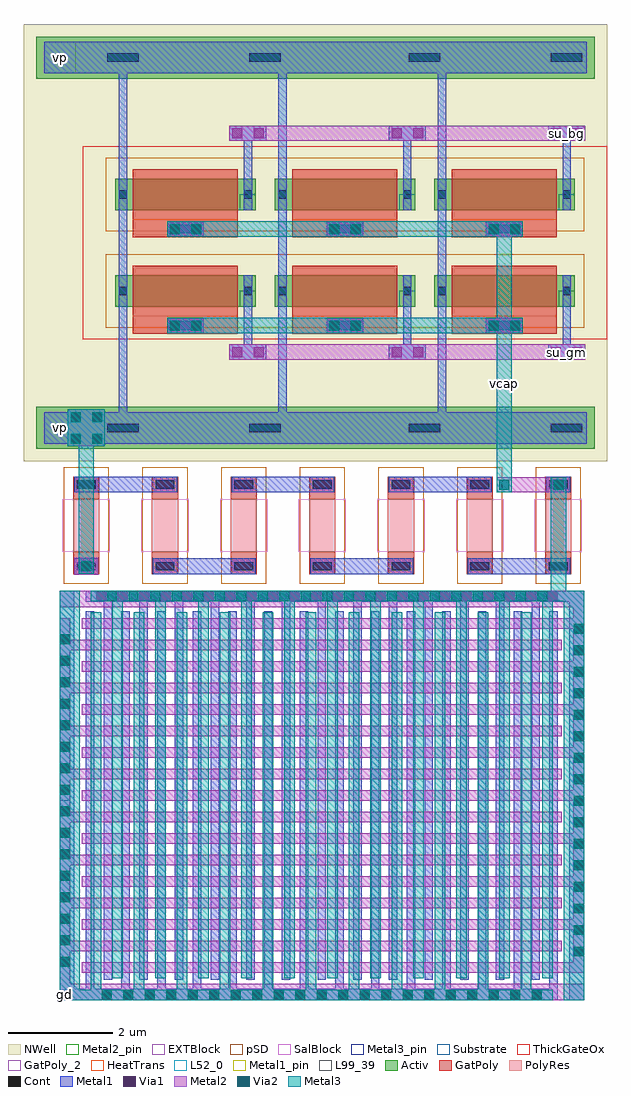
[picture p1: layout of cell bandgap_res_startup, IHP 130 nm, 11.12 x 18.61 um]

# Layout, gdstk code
import gdstk
lib = gdstk.Library(unit=1e-6, precision=1e-09)
def R(c, l, rs):  # rectangles x0, y0, x1, y1
    for r in rs: c.add(gdstk.rectangle(r[:2], r[2:], *l))
def A(c, l, x, y, w, h, nx, ny, dx, dy):  # array of equal rectangles
    R(c, l, [(x+i*dx, y+j*dy, x+i*dx+w, y+j*dy+h) for i in range(nx) for j in range(ny)])
Activ = (1, 0)
GatPoly = (5, 0)
GatPoly_2 = (5, 2)
Cont = (6, 0)
Metal1 = (8, 0)
Metal1_pin = (8, 2)
Metal2 = (10, 0)
Metal2_pin = (10, 2)
pSD = (14, 0)
Via1 = (19, 0)
SalBlock = (28, 0)
Via2 = (29, 0)
Metal3 = (30, 0)
Metal3_pin = (30, 2)
NWell = (31, 0)
Substrate = (40, 0)
ThickGateOx = (44, 0)
HeatTrans = (51, 0)
L52_0 = (52, 0)
L99_39 = (99, 39)
EXTBlock = (111, 0)
PolyRes = (128, 0)

pmoshv_6 = lib.new_cell('pmosHV$6')
R(pmoshv_6, Activ, [(0,0,0.3,0.3), (0,0,2.68,0.6), (2.38,0,2.68,0.3)])
R(pmoshv_6, GatPoly, [(0.34,-0.18,2.34,0.78)])
R(pmoshv_6, GatPoly_2, [(0.34,-0.18,2.34,0.78)])
R(pmoshv_6, Cont, [(0.07,0.22,0.23,0.38), (2.45,0.22,2.61,0.38)])
R(pmoshv_6, Metal1, [(0.07,0,0.23,0.6), (2.45,0,2.61,0.6)])
R(pmoshv_6, Metal1_pin, [(0.07,0,0.23,0.6), (2.45,0,2.61,0.6)])
R(pmoshv_6, pSD, [(-0.18,-0.4,2.86,1)])
R(pmoshv_6, NWell, [(-0.62,-0.62,3.3,1.22)])
R(pmoshv_6, Substrate, [(2.38,0,2.68,0.3)])
R(pmoshv_6, ThickGateOx, [(-0.62,-0.62,3.3,1.22)])
R(pmoshv_6, HeatTrans, [(0.34,-0.18,2.34,0.78)])
pmoshv_6.add(gdstk.Label('pmosHV', (1.34,0.3), layer=63, texttype=0))
pmoshv_6.add(gdstk.Label('pmos', (1.34,0.3), layer=51, texttype=0))

via_stack_10 = lib.new_cell('via_stack$10')
R(via_stack_10, Metal1, [(-0.145,-0.145,0.145,0.145)])
R(via_stack_10, Metal2, [(-0.145,-0.145,0.145,0.145)])
R(via_stack_10, Via1, [(-0.095,-0.095,0.095,0.095)])
R(via_stack_10, Via2, [(-0.095,-0.095,0.095,0.095)])
R(via_stack_10, Metal3, [(-0.145,-0.145,0.145,0.145)])

via_stack_3 = lib.new_cell('via_stack$3')
R(via_stack_3, Metal1, [(-0.35,-0.145,0.35,0.145)])
R(via_stack_3, Metal2, [(-0.35,-0.145,0.35,0.145)])
R(via_stack_3, Via1, [(-0.3,-0.095,-0.11,0.095), (0.11,-0.095,0.3,0.095)])
R(via_stack_3, Via2, [(-0.3,-0.095,-0.11,0.095), (0.11,-0.095,0.3,0.095)])
R(via_stack_3, Metal3, [(-0.35,-0.145,0.35,0.145)])

via_stack = lib.new_cell('via_stack')
R(via_stack, Metal1, [(-0.35,-0.145,0.35,0.145)])
R(via_stack, Metal2, [(-0.35,-0.145,0.35,0.145)])
R(via_stack, Via1, [(-0.3,-0.095,-0.11,0.095), (0.11,-0.095,0.3,0.095)])

cap_mfringe = lib.new_cell('cap_mfringe')
A(cap_mfringe, Metal1, 0.5, 0, 0.16, 7.41, 14, 1, 0.68, 0)
A(cap_mfringe, Metal1, 0.84, 0.39, 0.16, 7.41, 13, 1, 0.68, 0)
R(cap_mfringe, Metal1, [(0,0,0.28,7.8), (0,0,9.5,0.21), (9.72,0,10,7.8), (0.5,7.59,10,7.8)])
A(cap_mfringe, Metal2, 0.42, 0.52, 9.58, 0.2, 1, 9, 0, 0.82)
A(cap_mfringe, Metal2, 0, 0.93, 9.58, 0.2, 1, 8, 0, 0.82)
R(cap_mfringe, Metal2, [(0,0,10,0.31), (0,0,0.205,7.28), (9.795,0.52,10,7.8), (0,7.49,10,7.8)])
A(cap_mfringe, Via1, 0.805, 0.01, 0.19, 0.19, 21, 1, 0.41, 0)
A(cap_mfringe, Via1, 0.01, 0.63, 0.19, 0.19, 1, 16, 0, 0.41)
A(cap_mfringe, Via1, 9.8, 0.83, 0.19, 0.19, 1, 16, 0, 0.41)
A(cap_mfringe, Via1, 0.7, 7.6, 0.19, 0.19, 22, 1, 0.41, 0)
A(cap_mfringe, Via2, 0.805, 0.005, 0.19, 0.19, 21, 1, 0.41, 0)
A(cap_mfringe, Via2, 0.005, 0.63, 0.19, 0.19, 1, 16, 0, 0.41)
A(cap_mfringe, Via2, 9.805, 0.83, 0.19, 0.19, 1, 16, 0, 0.41)
A(cap_mfringe, Via2, 0.905, 7.605, 0.19, 0.19, 21, 1, 0.41, 0)
A(cap_mfringe, Metal3, 0.595, 0, 0.2, 7.39, 11, 1, 0.82, 0)
A(cap_mfringe, Metal3, 1.005, 0.41, 0.2, 7.39, 11, 1, 0.82, 0)
R(cap_mfringe, Metal3, [(0,0,0.385,7.8), (0,0,9.405,0.2), (9.615,0,10,7.8), (0.595,7.6,10,7.8)])
R(cap_mfringe, Metal3_pin, [(0,3.8,0.2,4), (4.9,7.6,5.1,7.8)])
R(cap_mfringe, L99_39, [(0,0,10,7.8)])
cap_mfringe.add(gdstk.Label('cap_mfringe C=138.060fF', (0,-0.5), layer=63, texttype=0))

via_stack_6 = lib.new_cell('via_stack$6')
R(via_stack_6, Metal2, [(-0.145,-0.145,0.145,0.145)])
R(via_stack_6, Via2, [(-0.095,-0.095,0.095,0.095)])
R(via_stack_6, Metal3, [(-0.145,-0.145,0.145,0.145)])

rppd_11 = lib.new_cell('rppd$11')
A(rppd_11, GatPoly, 0, -0.43, 0.5, 0.23, 7, 2, 1.5, 1.63)
A(rppd_11, GatPoly, 0, -0.2, 0.5, 0.2, 7, 2, 1.5, 1.2)
A(rppd_11, Cont, 0.07, -0.36, 0.36, 0.16, 7, 2, 1.5, 1.56)
A(rppd_11, Metal1, 0.02, -0.43, 0.46, 0.3, 7, 2, 1.5, 1.56)
A(rppd_11, Metal1, 1.52, -0.43, 1.96, 0.3, 3, 1, 3, 0)
A(rppd_11, Metal1, 0.02, 1.13, 1.96, 0.3, 3, 1, 3, 0)
A(rppd_11, Metal1_pin, 0.02, -0.43, 0.46, 0.3, 7, 2, 1.5, 1.56)
A(rppd_11, pSD, -0.18, -0.61, 0.86, 0.61, 7, 2, 1.5, 1.61)
A(rppd_11, pSD, -0.18, 0, 0.86, 1, 7, 1, 1.5, 0)
A(rppd_11, SalBlock, -0.2, 0, 0.9, 1, 7, 1, 1.5, 0)
A(rppd_11, L52_0, 0, 0, 0.5, 1, 7, 1, 1.5, 0)
A(rppd_11, EXTBlock, -0.18, -0.61, 0.86, 0.61, 7, 2, 1.5, 1.61)
A(rppd_11, EXTBlock, -0.2, 0, 0.9, 1, 7, 1, 1.5, 0)
A(rppd_11, PolyRes, 0, 0, 0.5, 1, 7, 1, 1.5, 0)
rppd_11.add(gdstk.Label('rppd r=653.834', (0.25,0.5), layer=63, texttype=0))
rppd_11.add(gdstk.Label('rppd r=653.834', (0.25,0.5), layer=63, texttype=0))
rppd_11.add(gdstk.Label('rppd r=653.834', (0.25,0.5), layer=63, texttype=0))
rppd_11.add(gdstk.Label('rppd r=653.834', (0.25,0.5), layer=63, texttype=0))
rppd_11.add(gdstk.Label('rppd r=653.834', (0.25,0.5), layer=63, texttype=0))
rppd_11.add(gdstk.Label('rppd r=653.834', (0.25,0.5), layer=63, texttype=0))
rppd_11.add(gdstk.Label('rppd r=653.834', (0.25,0.5), layer=63, texttype=0))
rppd_11.add(gdstk.Label('rppd', (0.25,0.5), layer=52, texttype=0))
rppd_11.add(gdstk.Label('rppd', (1.75,0.5), layer=52, texttype=0))
rppd_11.add(gdstk.Label('rppd', (3.25,0.5), layer=52, texttype=0))
rppd_11.add(gdstk.Label('rppd', (4.75,0.5), layer=52, texttype=0))
rppd_11.add(gdstk.Label('rppd', (6.25,0.5), layer=52, texttype=0))
rppd_11.add(gdstk.Label('rppd', (7.75,0.5), layer=52, texttype=0))
rppd_11.add(gdstk.Label('rppd', (9.25,0.5), layer=52, texttype=0))

via_stack_4 = lib.new_cell('via_stack$4')
R(via_stack_4, Metal1, [(-0.35,-0.35,0.35,0.35)])
R(via_stack_4, Metal2, [(-0.35,-0.35,0.35,0.35)])
R(via_stack_4, Via1, [(-0.3,-0.3,-0.11,-0.11), (0.11,-0.3,0.3,-0.11), (-0.3,0.11,-0.11,0.3), (0.11,0.11,0.3,0.3)])
R(via_stack_4, Via2, [(-0.3,-0.3,-0.11,-0.11), (0.11,-0.3,0.3,-0.11), (-0.3,0.11,-0.11,0.3), (0.11,0.11,0.3,0.3)])
R(via_stack_4, Metal3, [(-0.35,-0.35,0.35,0.35)])

bandgap_res_startup = lib.new_cell('bandgap_res_startup')
A(bandgap_res_startup, Cont, 2.78, 13.38, 0.6, 0.16, 3, 2, 3.04, 1.84)
R(bandgap_res_startup, Cont, [(1.59,11.43,2.19,11.59), (1.59,11.43,2.19,11.59), (4.3,11.43,4.9,11.59), (4.3,11.43,4.9,11.59), (7.34,11.43,7.94,11.59), (7.34,11.43,7.94,11.59), (10.05,11.43,10.65,11.59), (10.05,11.43,10.65,11.59), (8.86,13.38,9.46,13.54), (1.59,18.49,2.19,18.65), (1.59,18.49,2.19,18.65), (4.3,18.49,4.9,18.65), (4.3,18.49,4.9,18.65), (7.34,18.49,7.94,18.65), (7.34,18.49,7.94,18.65), (10.05,18.49,10.65,18.65), (10.05,18.49,10.65,18.65)])
R(bandgap_res_startup, Metal1_pin, [(0.39,11.21,0.99,11.81), (0.39,18.27,0.99,18.87)])
R(bandgap_res_startup, Metal2, [(0.96,8.71,1.42,9.03)])
R(bandgap_res_startup, Metal2_pin, [(10,12.81,10.7,13.1), (10,16.98,10.7,17.27)])
R(bandgap_res_startup, Metal3_pin, [(0.68,0.6,0.88,0.8)])
R(bandgap_res_startup, NWell, [(0,10.87,1.12,19.21), (1.12,10.87,11.12,13.2), (1.12,10.87,11.12,13.2), (1.12,16.88,11.12,19.21), (1.12,16.88,11.12,19.21)])
bandgap_res_startup.add(gdstk.FlexPath([(1.89,18.87),(1.89,11.21)], 0.16, ends="flush", simple_path=True, layer=8, datatype=0))  # Metal1
bandgap_res_startup.add(gdstk.FlexPath([(4.93,18.87),(4.93,11.21)], 0.16, ends="flush", simple_path=True, layer=8, datatype=0))  # Metal1
bandgap_res_startup.add(gdstk.FlexPath([(7.97,11.21),(7.97,18.87)], 0.16, ends="flush", simple_path=True, layer=8, datatype=0))  # Metal1
bandgap_res_startup.add(gdstk.FlexPath([(10.35,15.66),(10.35,17.27)], 0.16, ends="flush", simple_path=True, layer=8, datatype=0))  # Metal1
bandgap_res_startup.add(gdstk.FlexPath([(10.35,14.42),(10.35,12.81)], 0.16, ends="flush", simple_path=True, layer=8, datatype=0))  # Metal1
bandgap_res_startup.add(gdstk.FlexPath([(7.31,15.66),(7.31,17.27)], 0.16, ends="flush", simple_path=True, layer=8, datatype=0))  # Metal1
bandgap_res_startup.add(gdstk.FlexPath([(4.27,15.66),(4.27,17.27)], 0.16, ends="flush", simple_path=True, layer=8, datatype=0))  # Metal1
bandgap_res_startup.add(gdstk.FlexPath([(7.31,14.42),(7.31,12.81)], 0.16, ends="flush", simple_path=True, layer=8, datatype=0))  # Metal1
bandgap_res_startup.add(gdstk.FlexPath([(4.27,14.42),(4.27,12.81)], 0.16, ends="flush", simple_path=True, layer=8, datatype=0))  # Metal1
bandgap_res_startup.add(gdstk.FlexPath([(0.39,18.57),(10.73,18.57)], 0.6, ends="flush", simple_path=True, layer=8, datatype=0))  # Metal1
bandgap_res_startup.add(gdstk.FlexPath([(0.39,11.51),(10.73,11.51)], 0.6, ends="flush", simple_path=True, layer=8, datatype=0))  # Metal1
bandgap_res_startup.add(gdstk.FlexPath([(0.24,18.57),(10.88,18.57)], 0.8, ends="flush", simple_path=True, layer=1, datatype=0))  # Activ
bandgap_res_startup.add(gdstk.FlexPath([(0.24,11.51),(10.88,11.51)], 0.8, ends="flush", simple_path=True, layer=1, datatype=0))  # Activ
bandgap_res_startup.add(gdstk.FlexPath([(3.08,16.44),(3.08,15.14)], 2, ends="flush", simple_path=True, layer=5, datatype=0))  # GatPoly
bandgap_res_startup.add(gdstk.FlexPath([(6.12,16.44),(6.12,15.14)], 2, ends="flush", simple_path=True, layer=5, datatype=0))  # GatPoly
bandgap_res_startup.add(gdstk.FlexPath([(9.16,16.44),(9.16,15.14)], 2, ends="flush", simple_path=True, layer=5, datatype=0))  # GatPoly
bandgap_res_startup.add(gdstk.FlexPath([(3.08,14.6),(3.08,13.3)], 2, ends="flush", simple_path=True, layer=5, datatype=0))  # GatPoly
bandgap_res_startup.add(gdstk.FlexPath([(6.12,14.6),(6.12,13.3)], 2, ends="flush", simple_path=True, layer=5, datatype=0))  # GatPoly
bandgap_res_startup.add(gdstk.FlexPath([(9.16,14.6),(9.16,13.3)], 2, ends="flush", simple_path=True, layer=5, datatype=0))  # GatPoly
bandgap_res_startup.add(gdstk.FlexPath([(9.02,10.425),(10.34,10.425)], 0.29, ends="flush", simple_path=True, layer=10, datatype=0))  # Metal2
bandgap_res_startup.add(gdstk.FlexPath([(3.92,12.955),(10.7,12.955)], 0.29, ends="flush", simple_path=True, layer=10, datatype=0))  # Metal2
bandgap_res_startup.add(gdstk.FlexPath([(10.7,17.125),(3.92,17.125)], 0.29, ends="flush", simple_path=True, layer=10, datatype=0))  # Metal2
bandgap_res_startup.add(gdstk.FlexPath([(1.19,8.725),(1.19,11.51)], 0.29, ends="flush", simple_path=True, layer=30, datatype=0))  # Metal3
bandgap_res_startup.add(gdstk.FlexPath([(9.16,15.445),(9.16,10.28)], 0.29, ends="flush", simple_path=True, layer=30, datatype=0))  # Metal3
bandgap_res_startup.add(gdstk.FlexPath([(9.51,15.3),(2.73,15.3)], 0.29, ends="flush", simple_path=True, layer=30, datatype=0))  # Metal3
bandgap_res_startup.add(gdstk.FlexPath([(9.51,13.46),(2.73,13.46)], 0.29, ends="flush", simple_path=True, layer=30, datatype=0))  # Metal3
bandgap_res_startup.add(gdstk.FlexPath([(10.195,10.57),(10.195,8.2)], 0.29, ends="flush", simple_path=True, layer=30, datatype=0))  # Metal3
bandgap_res_startup.add(gdstk.Reference(pmoshv_6, (1.74,15.66)))
bandgap_res_startup.add(gdstk.Reference(pmoshv_6, (4.78,15.66)))
bandgap_res_startup.add(gdstk.Reference(pmoshv_6, (7.82,15.66)))
bandgap_res_startup.add(gdstk.Reference(via_stack_10, (10.195,10.425)))
bandgap_res_startup.add(gdstk.Reference(via_stack_3, (9.16,15.3)))
bandgap_res_startup.add(gdstk.Reference(pmoshv_6, (1.74,13.82)))
bandgap_res_startup.add(gdstk.Reference(pmoshv_6, (4.78,13.82)))
bandgap_res_startup.add(gdstk.Reference(pmoshv_6, (7.82,13.82)))
bandgap_res_startup.add(gdstk.Reference(via_stack, (10.35,12.955)))
bandgap_res_startup.add(gdstk.Reference(via_stack_3, (9.16,13.46)))
bandgap_res_startup.add(gdstk.Reference(cap_mfringe, (0.68,0.6)))
bandgap_res_startup.add(gdstk.Reference(via_stack_6, (9.16,10.425)))
bandgap_res_startup.add(gdstk.Reference(via_stack, (10.35,17.125)))
bandgap_res_startup.add(gdstk.Reference(rppd_11, (0.94,9.15)))
bandgap_res_startup.add(gdstk.Reference(via_stack_4, (1.19,11.51)))
bandgap_res_startup.add(gdstk.Reference(via_stack_3, (6.12,15.3)))
bandgap_res_startup.add(gdstk.Reference(via_stack_3, (3.08,15.3)))
bandgap_res_startup.add(gdstk.Reference(via_stack_3, (3.08,13.46)))
bandgap_res_startup.add(gdstk.Reference(via_stack_3, (6.12,13.46)))
bandgap_res_startup.add(gdstk.Reference(via_stack, (7.31,17.125)))
bandgap_res_startup.add(gdstk.Reference(via_stack, (4.27,17.125)))
bandgap_res_startup.add(gdstk.Reference(via_stack, (7.31,12.955)))
bandgap_res_startup.add(gdstk.Reference(via_stack, (4.27,12.955)))
bandgap_res_startup.add(gdstk.Reference(via_stack_10, (1.19,8.87)))
bandgap_res_startup.add(gdstk.Label('su_bg', (10.35,17.125), layer=10, texttype=25))
bandgap_res_startup.add(gdstk.Label('su_gm', (10.35,12.945), layer=10, texttype=25))
bandgap_res_startup.add(gdstk.Label('vp', (0.69,11.51), layer=8, texttype=25))
bandgap_res_startup.add(gdstk.Label('vp', (0.69,18.57), layer=8, texttype=25))
bandgap_res_startup.add(gdstk.Label('vcap', (9.161,12.351), layer=30, texttype=25))
bandgap_res_startup.add(gdstk.Label('gd', (0.78,0.7), layer=30, texttype=25))

lib.write_gds('bandgap_res_startup.gds')
